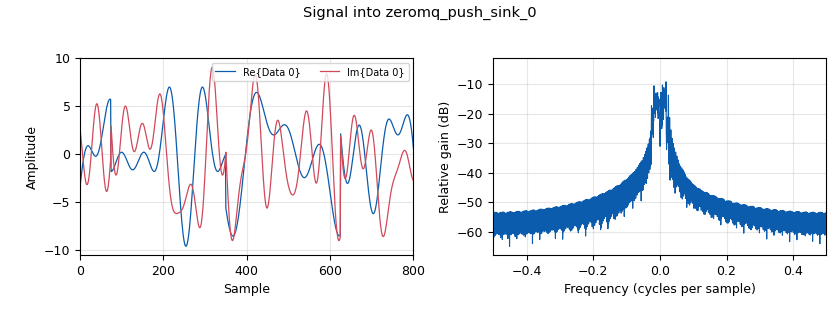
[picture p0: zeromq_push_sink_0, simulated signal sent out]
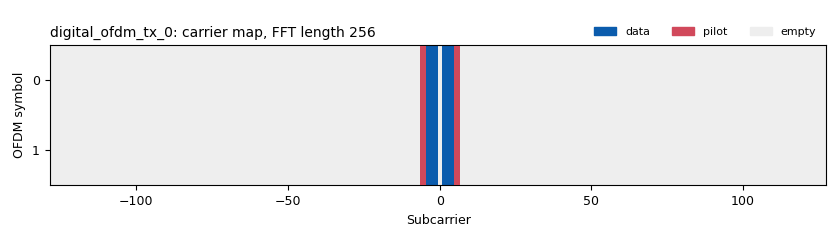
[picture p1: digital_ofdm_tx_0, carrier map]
options:
  parameters:
    generate_options: qt_gui
    id: ofdmframe_gen
    output_language: python
    title: OFDM Frame Generation
  states: {}

blocks:
- name: samp_rate
  id: variable
  parameters:
    value: 10e3
  states: {}
- name: analog_sig_source_x_0
  id: analog_sig_source_x
  parameters:
    amp: '1'
    freq: '1000'
    offset: '0'
    phase: '0'
    samp_rate: samp_rate
    type: complex
    waveform: analog.GR_COS_WAVE
  states: {}
- name: blocks_complex_to_interleaved_char_0
  id: blocks_complex_to_interleaved_char
  parameters:
    scale_factor: '127.0'
    vector_output: 'False'
  states: {}
- name: blocks_stream_to_tagged_stream_0
  id: blocks_stream_to_tagged_stream
  parameters:
    len_tag_key: '"packet_len"'
    packet_len: '12'
    type: byte
  states: {}
- name: blocks_stream_to_vector_0
  id: blocks_stream_to_vector
  parameters:
    num_items: '64'
    type: complex
  states: {}
- name: blocks_throttle2_0
  id: blocks_throttle2
  parameters:
    samples_per_second: samp_rate
    type: complex
  states: {}
- name: digital_ofdm_tx_0
  id: digital_ofdm_tx
  parameters:
    cp_len: '20'
    fft_len: '256'
    header_mod: '"BPSK"'
    occupied_carriers: ((-4,-3,-2,-1,1,2,3,4),)
    packet_len_key: '"packet_len"'
    payload_mod: '"QPSK"'
    pilot_carriers: ((-5,-6,5,6),)
    pilot_symbols: ((-1,-1,1,1),)
    rolloff: '0'
    sync_word1: None
    sync_word2: None
  states: {}
- name: qtgui_sink_x_0_0
  id: qtgui_sink_x
  parameters:
    alias: '"Tx"'
    bw: samp_rate
    fc: '0'
    fftsize: '1024'
    name: '"Tx"'
    type: complex
  states: {state: disabled}
- name: qtgui_sink_x_0_1
  id: qtgui_sink_x
  parameters:
    alias: '"Channel"'
    bw: samp_rate
    fc: '0'
    fftsize: '1024'
    name: '"Channel"'
    type: complex
  states: {state: disabled}
- name: virtual_sink_0
  id: virtual_sink
  parameters:
    stream_id: '"ofdm"'
  states: {state: disabled}
- name: zeromq_push_sink_0
  id: zeromq_push_sink
  parameters:
    address: tcp://127.0.0.1:5554
    bind: 'False'
    timeout: '100'
    type: complex
    vlen: '64'
  states: {}

connections:
- [analog_sig_source_x_0, '0', blocks_throttle2_0, '0']
- [blocks_complex_to_interleaved_char_0, '0', blocks_stream_to_tagged_stream_0, '0']
- [blocks_stream_to_tagged_stream_0, '0', digital_ofdm_tx_0, '0']
- [blocks_stream_to_vector_0, '0', zeromq_push_sink_0, '0']
- [blocks_throttle2_0, '0', blocks_complex_to_interleaved_char_0, '0']
- [blocks_throttle2_0, '0', qtgui_sink_x_0_0, '0']
- [digital_ofdm_tx_0, '0', blocks_stream_to_vector_0, '0']
- [digital_ofdm_tx_0, '0', qtgui_sink_x_0_1, '0']
- [digital_ofdm_tx_0, '0', virtual_sink_0, '0']

metadata:
  file_format: 1
  grc_version: 3.10.11.0
